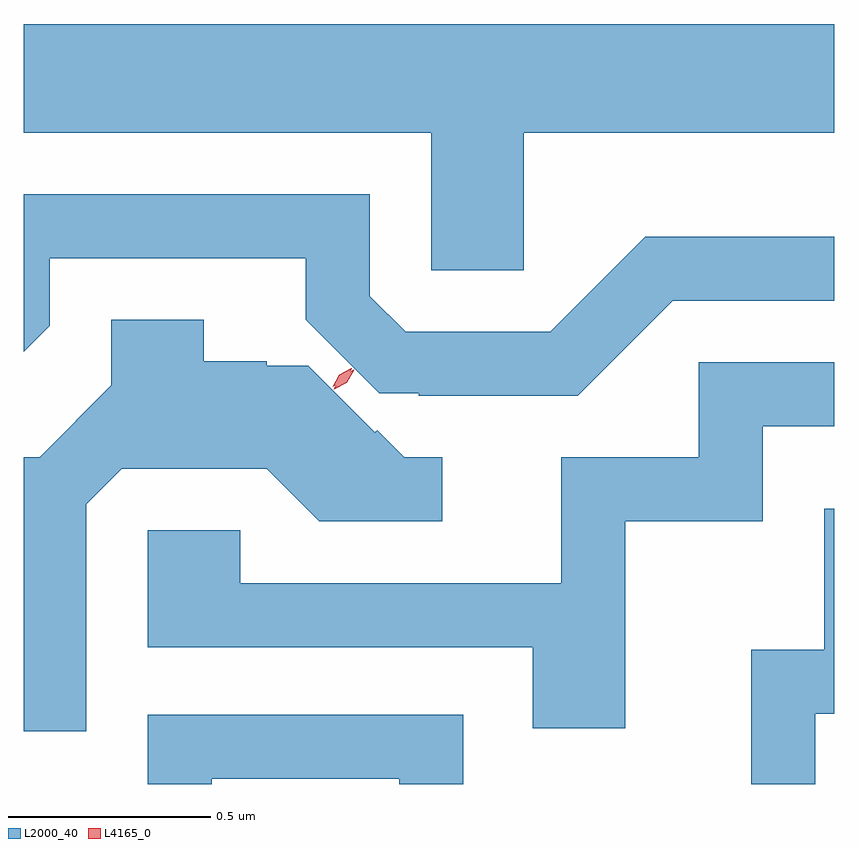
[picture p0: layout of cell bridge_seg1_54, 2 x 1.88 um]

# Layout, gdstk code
import gdstk
lib = gdstk.Library(unit=1e-6, precision=1e-09)
def P(c, l, *ps):  # polygons
    for p in ps: c.add(gdstk.Polygon(p, *l))
L2000_40 = (2000, 40)
L4165_0 = (4165, 0)

bridge_seg1_54 = lib.new_cell('bridge_seg1_54')
P(bridge_seg1_54, L2000_40, [(1807.829,897.356),(1808.595,897.356),(1808.595,897.624),(1806.595,897.624),(1806.595,897.356),(1807.601,897.356),(1807.601,897.016),(1807.829,897.016)],
  [(1808.197,896.941),(1808.595,896.941),(1808.595,897.099),(1808.129,897.099),(1807.894,896.864),(1807.537,896.864),(1807.449,896.952),(1807.449,897.204),(1806.595,897.204),(1806.595,896.815),(1806.659,896.879),(1806.659,897.046),(1807.291,897.046),(1807.291,896.894),(1807.472,896.713),(1807.57,896.713),(1807.57,896.706),(1807.962,896.706)],
  [(1806.749,896.439),(1806.837,896.526),(1807.194,896.526),(1807.324,896.396),(1807.628,896.396),(1807.628,896.554),(1807.534,896.554),(1807.467,896.621),(1807.461,896.616),(1807.297,896.78),(1807.195,896.78),(1807.195,896.791),(1807.039,896.791),(1807.039,896.894),(1806.811,896.894),(1806.811,896.732),(1806.634,896.554),(1806.595,896.554),(1806.595,895.878),(1806.749,895.878)],
  [(1808.079,896.396),(1808.419,896.396),(1808.419,896.631),(1808.595,896.631),(1808.595,896.789),(1808.261,896.789),(1808.261,896.554),(1807.921,896.554),(1807.921,896.244),(1807.129,896.244),(1807.129,896.374),(1806.901,896.374),(1806.901,896.086),(1807.851,896.086),(1807.851,895.886),(1808.079,895.886)],
  [(1808.549,895.921),(1808.595,895.921),(1808.595,896.428),(1808.571,896.428),(1808.571,896.079),(1808.391,896.079),(1808.391,895.748),(1808.549,895.748)],
  [(1807.059,895.761),(1807.521,895.761),(1807.521,895.748),(1807.679,895.748),(1807.679,895.919),(1806.901,895.919),(1806.901,895.748),(1807.059,895.748)])
P(bridge_seg1_54, L4165_0, [(1807.36,896.722),(1807.36,896.722),(1807.378,896.753),(1807.409,896.771),(1807.41,896.771),(1807.41,896.77),(1807.392,896.739),(1807.361,896.722)],
  [(1807.357,896.728),(1807.357,896.729),(1807.374,896.758),(1807.403,896.774),(1807.404,896.774),(1807.404,896.773),(1807.387,896.744),(1807.358,896.728)])

lib.write_gds('bridge_seg1_54.gds')
